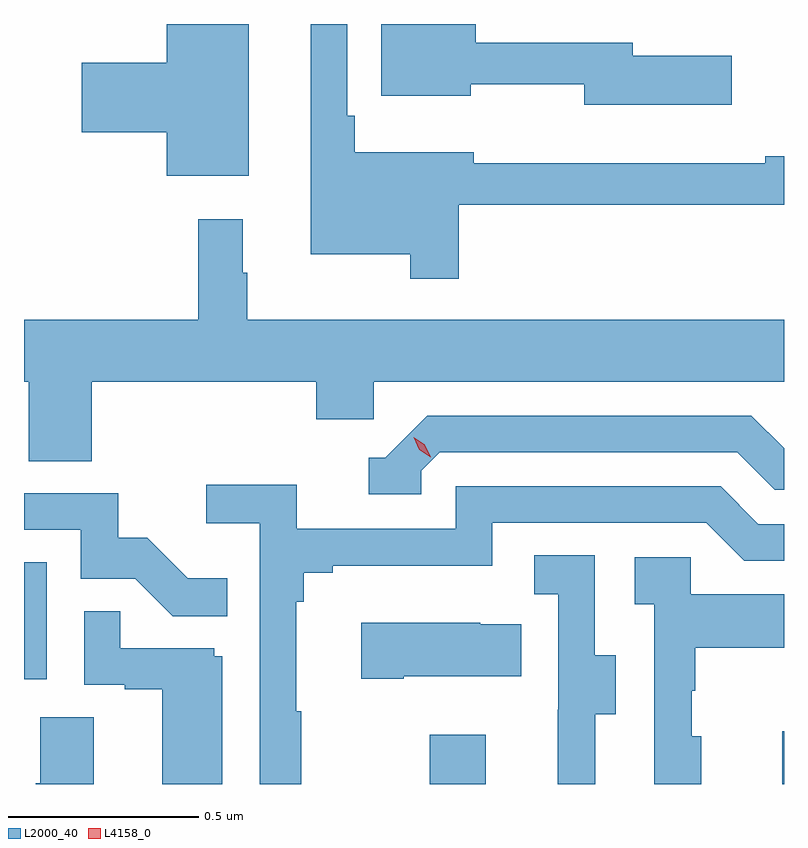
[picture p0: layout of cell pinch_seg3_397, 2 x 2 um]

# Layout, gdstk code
import gdstk
lib = gdstk.Library(unit=1e-6, precision=1e-09)
def R(c, l, rs):  # rectangles x0, y0, x1, y1
    for r in rs: c.add(gdstk.rectangle(r[:2], r[2:], *l))
def P(c, l, *ps):  # polygons
    for p in ps: c.add(gdstk.Polygon(p, *l))
L2000_40 = (2000, 40)
L4158_0 = (4158, 0)

pinch_seg3_397 = lib.new_cell('pinch_seg3_397')
R(pinch_seg3_397, L2000_40, [(938.386,689.202,938.533,689.332), (939.314,689.202,939.318,689.341), (937.318,689.478,937.378,689.785)])
P(pinch_seg3_397, L2000_40, [(938.462,690.726),(939.318,690.726),(939.318,690.854),(939.268,690.854),(939.268,690.835),(938.502,690.835),(938.502,690.865),(938.189,690.865),(938.189,690.961),(938.169,690.961),(938.169,691.202),(938.072,691.202),(938.072,690.596),(938.334,690.596),(938.334,690.531),(938.462,690.531)],
  [(937.909,691.202),(937.694,691.202),(937.694,691.1),(937.47,691.1),(937.47,690.917),(937.694,690.917),(937.694,690.803),(937.909,690.803)],
  [(939.181,691.119),(938.92,691.119),(938.92,691.153),(938.507,691.153),(938.507,691.202),(938.372,691.202),(938.372,691.201),(938.258,691.201),(938.258,691.013),(938.494,691.013),(938.494,691.043),(938.792,691.043),(938.792,690.989),(939.181,690.989)],
  [(937.496,690.26),(938.087,690.26),(938.087,690.162),(938.238,690.162),(938.238,690.26),(939.318,690.26),(939.318,690.424),(937.906,690.424),(937.906,690.548),(937.894,690.548),(937.894,690.688),(937.777,690.688),(937.777,690.424),(937.318,690.424),(937.318,690.26),(937.331,690.26),(937.331,690.052),(937.496,690.052)],
  [(938.364,690.027),(938.412,690.075),(939.195,690.075),(939.294,689.976),(939.318,689.976),(939.318,690.085),(939.232,690.171),(938.379,690.171),(938.268,690.06),(938.225,690.06),(938.225,689.964),(938.364,689.964)],
  [(938.047,689.393),(938.035,689.393),(938.035,689.681),(938.054,689.681),(938.054,689.758),(938.131,689.758),(938.131,689.777),(938.55,689.777),(938.55,689.889),(939.114,689.889),(939.213,689.79),(939.318,689.79),(939.318,689.886),(939.25,689.886),(939.151,689.985),(938.454,689.985),(938.454,689.874),(938.036,689.874),(938.036,689.99),(937.797,689.99),(937.797,689.888),(937.938,689.888),(937.938,689.202),(938.047,689.202)],
  [(937.853,689.743),(937.749,689.743),(937.642,689.85),(937.566,689.85),(937.566,689.967),(937.318,689.967),(937.318,689.871),(937.467,689.871),(937.467,689.742),(937.611,689.742),(937.709,689.644),(937.853,689.644)],
  [(938.821,689.386),(938.875,689.386),(938.875,689.541),(938.82,689.541),(938.82,689.804),(938.661,689.804),(938.661,689.701),(938.724,689.701),(938.724,689.397),(938.723,689.397),(938.723,689.202),(938.821,689.202)],
  [(939.1,689.328),(939.075,689.328),(939.075,689.447),(939.085,689.447),(939.085,689.561),(939.318,689.561),(939.318,689.701),(939.072,689.701),(939.072,689.799),(938.925,689.799),(938.925,689.675),(938.976,689.675),(938.976,689.202),(939.1,689.202)],
  [(937.84,689.538),(937.818,689.538),(937.818,689.559),(937.571,689.559),(937.571,689.657),(937.476,689.657),(937.476,689.463),(937.583,689.463),(937.583,689.451),(937.682,689.451),(937.682,689.202),(937.84,689.202)],
  [(938.317,689.486),(938.627,689.486),(938.627,689.623),(938.519,689.623),(938.519,689.626),(938.205,689.626),(938.205,689.479),(938.317,689.479)],
  [(937.501,689.378),(937.361,689.378),(937.361,689.204),(937.349,689.204),(937.349,689.202),(937.501,689.202)])
P(pinch_seg3_397, L4158_0, [(938.389,690.062),(938.358,690.082),(938.343,690.115),(938.343,690.115),(938.343,690.115),(938.373,690.095),(938.389,690.062),(938.389,690.062)])

lib.write_gds('pinch_seg3_397.gds')
